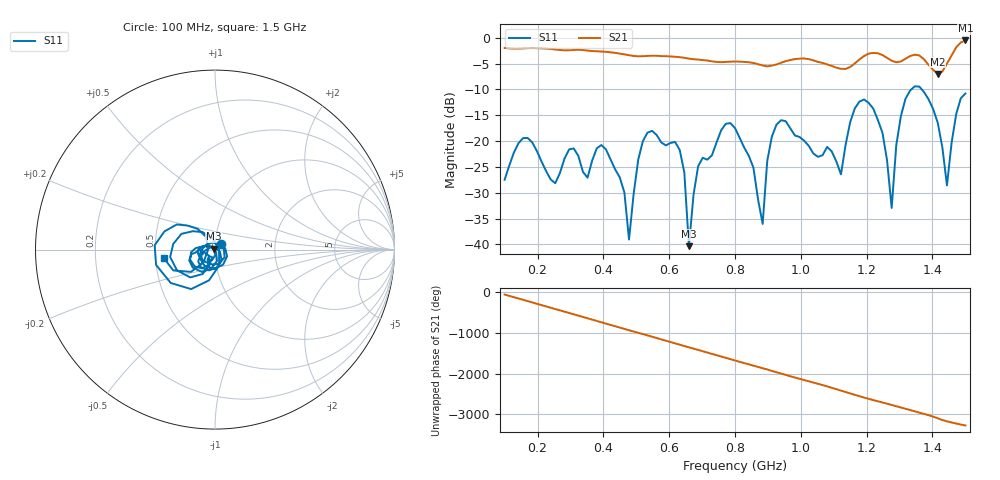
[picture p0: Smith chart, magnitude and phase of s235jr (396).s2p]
! NanoVNA-App
! Date: 2025-09-25 15:07:15
! Start: 100MHz Stop: 1,5GHz Points: 101
! S-Parameter data: F S11 S21 S12 S22
# Hz S RI R 50
!  Frequency  S11_Real  S11_Imag  S21_Real  S21_Imag  S12_Real  S12_Imag  S22_Real  S22_Imag
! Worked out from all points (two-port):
!   101 points, 100 MHz to 1.5 GHz, reference 50 ohm
!   highest |S21| = -0.51 dB at 1.5 GHz (marker M1); lowest = -7.0 dB at 1.416 GHz (marker M2)
!   |S21| within 3 dB of the highest: start of sweep to 492.9 MHz; 1.193 GHz to 1.252 GHz (59.88 MHz wide, 4.9 % of centre) (the widest 2 of 5)
!   lowest |S11| = -40.3 dB at 660 MHz (marker M3), VSWR 1.02, Z = 49.2 + j0.553 ohm
!   |S11| at or under -10 dB: start of sweep to 1.336 GHz; 1.368 GHz to end of sweep
!   S12 and S22 are empty: the file has one direction only
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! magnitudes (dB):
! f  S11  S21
! 100 MHz  -27.5  -2.0
! 156 MHz  -19.4  -2.0
! 338 MHz  -25.9  -2.4
! 408 MHz  -21.6  -2.7
! 478 MHz  -39.0  -3.4
! 520 MHz  -20.0  -3.6
! 576 MHz  -20.2  -3.5
! 632 MHz  -21.7  -3.7
! 660 MHz  -40.3  -4.0
! 688 MHz  -24.9  -4.2
! 800 MHz  -17.5  -4.6
! 884 MHz  -36.0  -5.3
! 926 MHz  -16.8  -5.2
! 1.038 GHz  -22.4  -4.4
! 1.122 GHz  -26.4  -6.0
! 1.192 GHz  -11.9  -3.5
! 1.248 GHz  -18.4  -3.3
! 1.276 GHz  -32.9  -4.4
! 1.318 GHz  -11.8  -4.1
! 1.416 GHz  -16.4  -7.0
! 1.444 GHz  -28.6  -5.0
! 1.5 GHz  -10.8  -0.5
